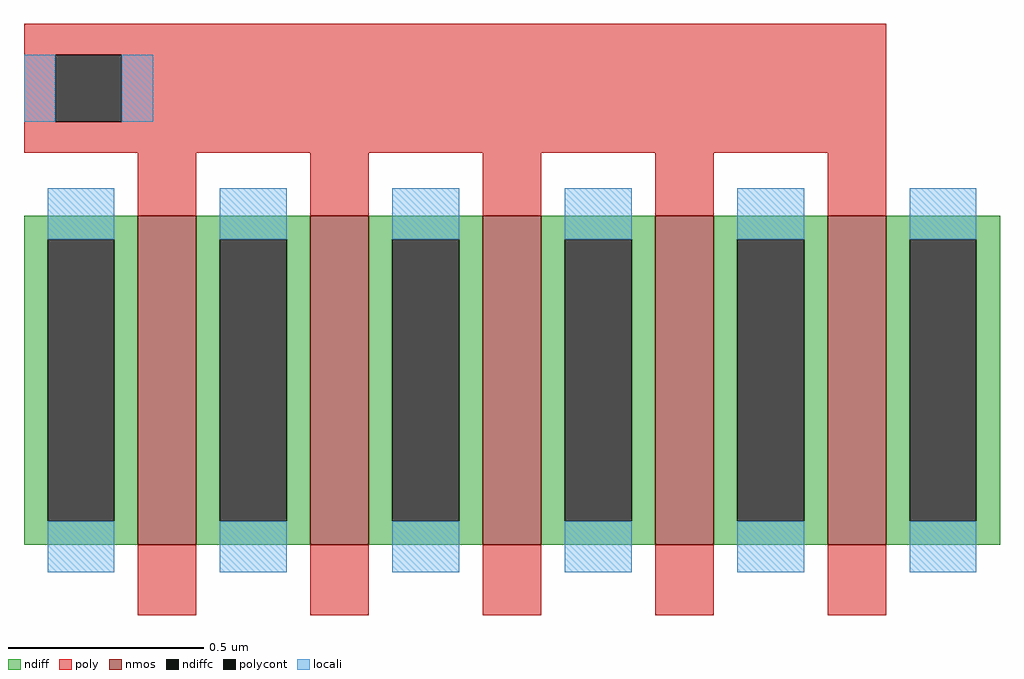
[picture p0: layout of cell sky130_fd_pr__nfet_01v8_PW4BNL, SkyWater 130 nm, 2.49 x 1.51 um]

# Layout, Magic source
magic
tech sky130A
magscale 1 2
<< nmos >>
rect -15 -163 15 5
rect 73 -163 103 5
rect 161 -163 191 5
rect 249 -163 279 5
rect 337 -163 367 5
<< ndiff >>
rect -73 -7 -15 5
rect -73 -151 -61 -7
rect -27 -151 -15 -7
rect -73 -163 -15 -151
rect 15 -7 73 5
rect 15 -151 27 -7
rect 61 -151 73 -7
rect 15 -163 73 -151
rect 103 -7 161 5
rect 103 -151 115 -7
rect 149 -151 161 -7
rect 103 -163 161 -151
rect 191 -7 249 5
rect 191 -151 203 -7
rect 237 -151 249 -7
rect 191 -163 249 -151
rect 279 -7 337 5
rect 279 -151 291 -7
rect 325 -151 337 -7
rect 279 -163 337 -151
rect 367 -7 425 5
rect 367 -151 379 -7
rect 413 -151 425 -7
rect 367 -163 425 -151
<< ndiffc >>
rect -61 -151 -27 -7
rect 27 -151 61 -7
rect 115 -151 149 -7
rect 203 -151 237 -7
rect 291 -151 325 -7
rect 379 -151 413 -7
<< poly >>
rect -73 87 367 103
rect -73 53 -57 87
rect -23 53 367 87
rect -73 37 367 53
rect -15 5 15 37
rect 73 5 103 37
rect 161 5 191 37
rect 249 5 279 37
rect 337 5 367 37
rect -15 -199 15 -163
rect 73 -199 103 -163
rect 161 -199 191 -163
rect 249 -199 279 -163
rect 337 -199 367 -163
<< polycont >>
rect -57 53 -23 87
<< locali >>
rect -73 53 -57 87
rect -23 53 -7 87
rect -61 -7 -27 19
rect -61 -177 -27 -151
rect 27 -7 61 19
rect 27 -177 61 -151
rect 115 -7 149 19
rect 115 -177 149 -151
rect 203 -7 237 19
rect 203 -177 237 -151
rect 291 -7 325 19
rect 291 -177 325 -151
rect 379 -7 413 19
rect 379 -177 413 -151
<< properties >>
string gencell sky130_fd_pr__nfet_01v8
string library sky130
string parameters w 0.460 l 0.150 m 1 nf 1 diffcov 100 polycov 100 guard 0 glc 0 grc 0 gtc 0 gbc 0 tbcov 100 rlcov 100 topc 1 botc 0 poverlap 0 doverlap 1 lmin 0.15 wmin 0.42 compatible {sky130_fd_pr__nfet_01v8 sky130_fd_pr__nfet_01v8_lvt  sky130_fd_bs_flash__special_sonosfet_star  sky130_fd_pr__nfet_g5v0d10v5 sky130_fd_pr__nfet_05v0_nvt  sky130_fd_pr__nfet_03v3_nvt} full_metal 0 viasrc 100 viadrn 100 viagate 100 viagb 0 viagr 0 viagl 0 viagt 0
<< end >>
